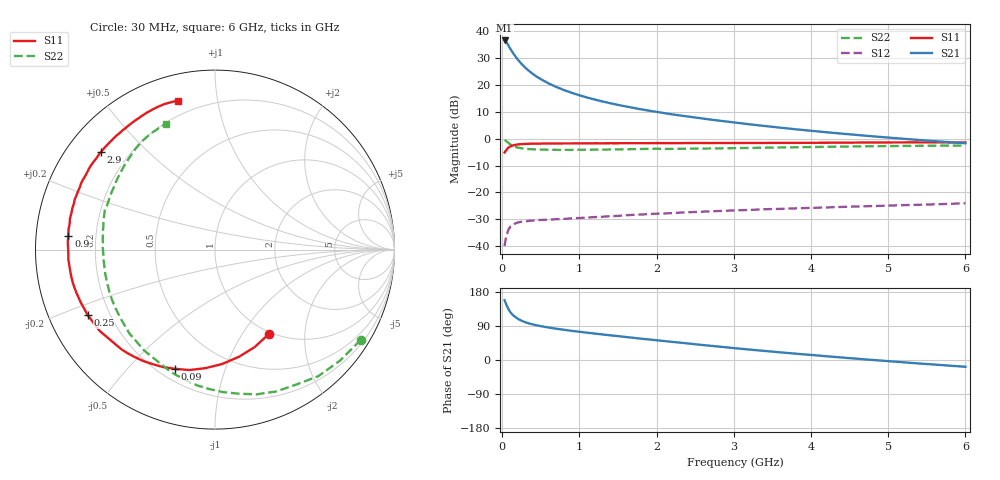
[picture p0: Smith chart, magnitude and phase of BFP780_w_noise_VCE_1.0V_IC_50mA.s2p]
! Infineon Technologies  Discrete & RF Semiconductors
! BFP780
! VCE =  1.0 V,  IC =  50 mA
! Common Emitter S-Parameters:  Jul 2015
# GHz  S  MA  R  50
!  f  S11  S21  S12  S22
! GHz  MAG  ANG  MAG  ANG  MAG  ANG  MAG  ANG
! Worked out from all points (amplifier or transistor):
!   75 points, 30 MHz to 6 GHz, reference 50 ohm
!   highest |S21| = 36.7 dB at 30 MHz (marker M1)
!   |S21| within 3 dB of that: start of sweep to 101.9 MHz
!   unconditionally stable (mu >= 1): 2.023 GHz to end of sweep
!   at 150 MHz: K = 0.12, MSG = 31.6 dB, |S12| = -31.7 dB
!   at 2.3 GHz: K = 1.09, MAG = 16.3 dB, |S12| = -27.5 dB
!   at 6 GHz: K = 1.56, MAG = 6.8 dB, |S12| = -24.0 dB
!   lowest NFmin = 1.39 dB at 450 MHz
!   S11 on the Smith chart (normalised r, x): 30 MHz: 0.98, -1.33; 90 MHz: 0.26, -0.69; 250 MHz: 0.12, -0.24; 900 MHz: 0.10, +0.05; 2.9 GHz: 0.10, +0.37; 6 GHz: 0.12, +0.77
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0.03  0.5573 -57.1  68.03 157.7  0.01 71.1  0.9556 -31.8
0.04  0.5864 -67.9  66.28 152.4  0.0126 66.5  0.9313 -41.7
0.05  0.6115 -77.3  63.96 147.2  0.0148 63.7  0.9103 -50.8
0.06  0.639 -86.5  61.12 142.7  0.016 55.8  0.8775 -59.1
0.08  0.6857 -101.9  54.74 134.3  0.0204 50.8  0.8387 -74.1
0.09  0.7006 -108.6  51.55 130.8  0.0215 44.6  0.8132 -80.7
0.11  0.7276 -118.9  46.04 124.9  0.0236 38.3  0.7778 -92.3
0.12  0.7392 -123.2  43.68 122.4  0.0241 38.2  0.7636 -97.3
0.15  0.7619 -133.2  37.62 116.4  0.0259 33.2  0.7252 -109.7
0.2  0.7862 -144.8  30.01 108.9  0.0276 26.5  0.6872 -124.9
0.25  0.7977 -152.8  24.84 103.6  0.0285 23.2  0.6675 -135.6
0.35  0.8094 -163.1  18.19 96.3  0.0297 19.3  0.6432 -149.7
0.5  0.8153 -172.0  12.91 89.3  0.0308 17.2  0.6293 -161.9
0.7  0.8176 -179.7  9.243 82.5  0.0318 16.9  0.6234 -171.7
0.9  0.8207 174.7  7.19 77.0  0.033 16.9  0.6228 -178.4
1.1  0.8224 170.0  5.867 72.0  0.0342 17.3  0.6256 176.4
2.1  0.8323 152.0  3.011 50.0  0.0407 17.4  0.6486 158.6
2.9  0.8361 139.4  2.104 33.5  0.0457 15.4  0.6675 146.3
3.1  0.8372 136.4  1.942 29.5  0.0468 14.6  0.6734 143.4
4.1  0.8446 122.7  1.369 11.6  0.0522 11.4  0.7058 131.0
5.1  0.8572 111.8  1.028 -4.6  0.0576 7.2  0.7345 120.7
6  0.8556 104.0  0.827 -17.9  0.0629 3.1  0.7514 111.5
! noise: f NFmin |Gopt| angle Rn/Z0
0.45  1.39  0.42  -177  0.07
0.9  1.42  0.4  -172  0.08
1.5  1.49  0.47  -163  0.08
1.8  1.66  0.48  -159  0.09
2.4  1.79  0.49  -150  0.12
3  2.06  0.53  -140  0.17
3.5  2.54  0.67  -126  0.26
